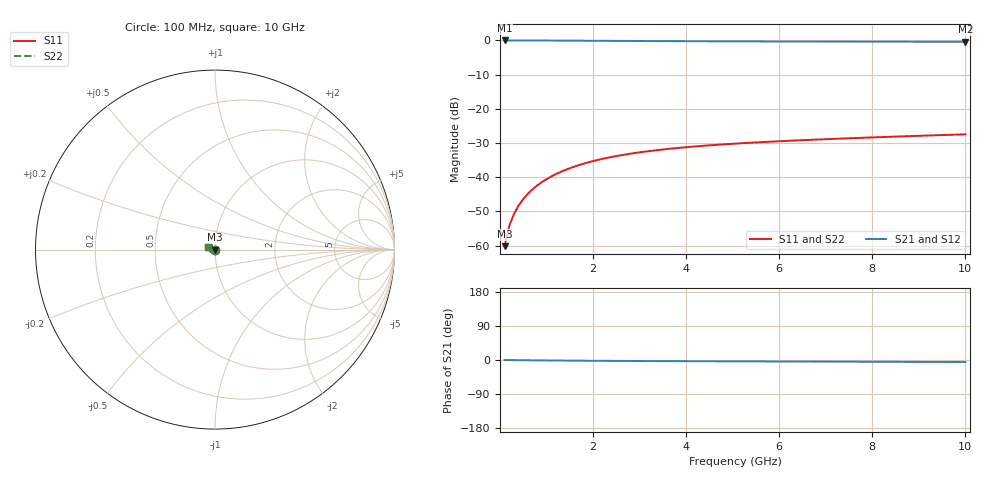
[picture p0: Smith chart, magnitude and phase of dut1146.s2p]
! Touchstone file exported from HFSS 2024.1.0
!  File:  C:/UserFiles/LocalFiles/RDL_TSV_Batchsim/temp_TSV1_1146_1780071481.aedt
!  Generated:  12:24:13 AM May 30, 2026
!  Design:  TSV1
!  Project:  temp_TSV1_1146_1780071481
!  Setup:  Setup1
!  Solution:  Sweep
! Variables:
!  dtsv = 8.16um
!  hbump = 3um
!  htsv = 82.31um
!  lrdl = 252.1521522um
!  p = 40
!  p1 = 51.82um
!  t = 500um
!  trdl = 3um
!  wrdl = 24.89489489um
# GHz S MA R 50.000000
! Terminal data exported
! Port[1] = TSV22_T1
! Port[2] = TSV22_T2
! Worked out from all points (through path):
!   100 points, 100 MHz to 10 GHz, reference 50 ohm
!   highest |S21| = 0.00 dB at 100 MHz (marker M1); lowest = -0.4 dB at 10 GHz (marker M2)
!   lowest |S11| = -60.1 dB at 100 MHz (marker M3), VSWR 1.00, Z = 50 - j0.0965 ohm
!   |S11| at or under -10 dB: start of sweep to end of sweep
!   |S22| runs from -60.1 to -27.4 dB; largest |S21 - S12| = 3e-15
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0.1  0.000983 -79.0  0.9997 -0.1  0.9997 -0.1  0.000983 -79.0
! Gamma 0 0 0 0
! Port Impedance 50 0 50 0
0.2  0.001939 -87.2  0.9996 -0.2  0.9996 -0.2  0.001939 -87.2
0.3  0.002899 -91.4  0.9994 -0.4  0.9994 -0.4  0.002899 -91.4
0.4  0.003856 -94.5  0.9992 -0.5  0.9992 -0.5  0.003856 -94.5
0.5  0.004805 -97.1  0.9989 -0.6  0.9989 -0.6  0.004805 -97.1
0.6  0.005744 -99.5  0.9985 -0.7  0.9985 -0.7  0.005744 -99.5
0.7  0.006673 -101.8  0.9981 -0.8  0.9981 -0.8  0.006673 -101.8
0.8  0.007589 -104.0  0.9976 -0.9  0.9976 -0.9  0.007589 -104.0
0.9  0.008491 -106.1  0.9971 -1.0  0.9971 -1.0  0.008491 -106.1
1.1  0.01025 -110.1  0.9959 -1.2  0.9959 -1.2  0.01025 -110.1
1.4  0.01275 -115.8  0.9939 -1.5  0.9939 -1.5  0.01275 -115.8
1.6  0.01432 -119.5  0.9924 -1.7  0.9924 -1.7  0.01432 -119.5
1.8  0.01581 -123.0  0.9908 -1.9  0.9908 -1.9  0.01581 -123.0
2.1  0.0179 -128.0  0.9884 -2.1  0.9884 -2.1  0.0179 -128.0
2.5  0.0204 -134.2  0.9851 -2.4  0.9851 -2.4  0.0204 -134.2
2.9  0.02262 -140.0  0.982 -2.6  0.982 -2.6  0.02262 -140.0
3.4  0.02503 -146.6  0.9784 -2.9  0.9784 -2.9  0.02503 -146.6
4.2  0.02823 -156.0  0.9733 -3.3  0.9733 -3.3  0.02823 -156.0
5.1  0.03115 -165.0  0.9688 -3.6  0.9688 -3.6  0.03115 -165.0
6.7  0.03532 -178.3  0.9629 -4.2  0.9629 -4.2  0.03532 -178.3
8.4  0.03908 170.5  0.9589 -4.8  0.9589 -4.8  0.03908 170.5
10  0.04242 161.7  0.9562 -5.4  0.9562 -5.4  0.04242 161.7
